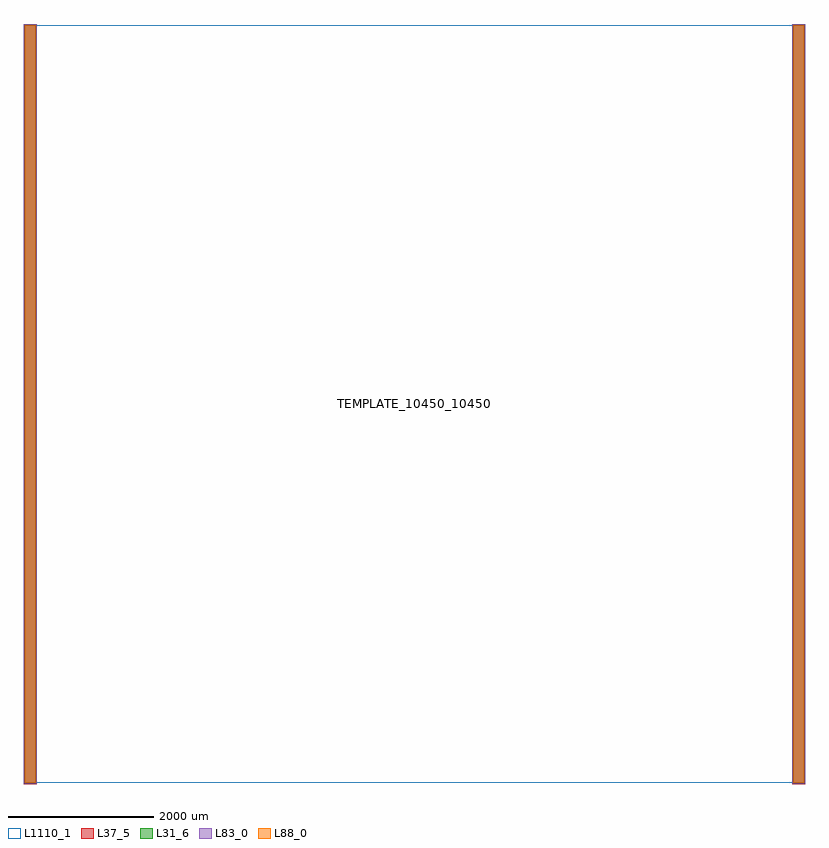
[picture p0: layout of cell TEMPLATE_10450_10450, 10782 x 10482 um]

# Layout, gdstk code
import gdstk
lib = gdstk.Library(unit=1e-6, precision=1e-09)
def R(c, l, rs):  # rectangles x0, y0, x1, y1
    for r in rs: c.add(gdstk.rectangle(r[:2], r[2:], *l))
def P(c, l, *ps):  # polygons
    for p in ps: c.add(gdstk.Polygon(p, *l))
L31_6 = (31, 6)
L37_5 = (37, 5)
L83_0 = (83, 0)
L88_0 = (88, 0)
L1110_1 = (1110, 1)

template_10450_10450 = lib.new_cell('TEMPLATE_10450_10450')
R(template_10450_10450, L31_6, [(-165.2,-15.2,15.2,10465.2), (10434.8,-15.2,10615.2,10465.2)])
R(template_10450_10450, L37_5, [(-166,-16,16,10466), (10434,-16,10616,10466)])
R(template_10450_10450, L83_0, [(-165,-15,15,10465), (10435,-15,10615,10465)])
R(template_10450_10450, L88_0, [(-150,0,0,10450), (10450,0,10600,10450)])
P(template_10450_10450, L1110_1, [(-166,-16),(-166,10466),(16,10466),(16,10450),(10434,10450),(10434,10466),(10616,10466),(10616,-16),(10434,-16),(10434,0),(16,0),(16,-16)])
template_10450_10450.add(gdstk.Label('TEMPLATE_10450_10450', (5225,5225.5), layer=1002, texttype=0))
template_10450_10450.add(gdstk.Label('ISIPP50G_2_3_0', (5225,5225), layer=1002, texttype=0))
template_10450_10450.add(gdstk.Label('imec_cell', (5225,5224.5), layer=1002, texttype=0))

lib.write_gds('TEMPLATE_10450_10450.gds')
